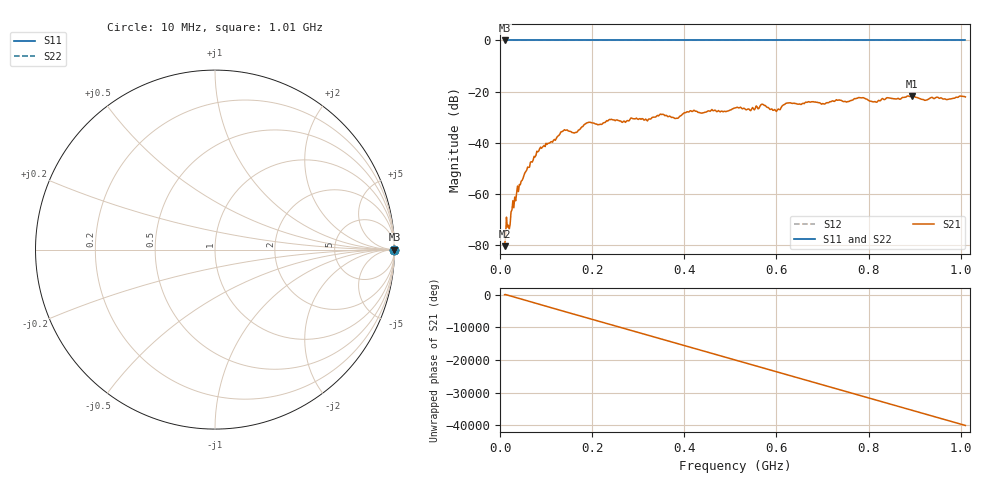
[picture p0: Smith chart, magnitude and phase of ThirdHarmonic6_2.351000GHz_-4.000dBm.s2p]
! 8/17/2025 3:32:29 AM
! C:\ANRITSUVNA\TEMP\TEMP.S2P
! CHANNEL.1
! TR.MEASUREMENT
! RAW.DATA
! RF.CORRECTION.OFF
! AVERAGING.OFF
! IF.BANDWIDTH: 5KHZ
! SWEEPTYPE:  FREQ.SWEEP(Linear)
! Reference Plane Port Info
! PORT:  PORT1  PORT2
! DISTANCE:  0  m  0  m
! TIME:  0  s  0  s
! PHASE.OFFSET:  0  deg.  0  deg.
! LOSS:  0  dB  0  dB
! REF.LOSS:  0  dB  0  dB
! REF.FREQ:  0  Hz  0  Hz
! Power Info
! POWER:  -20  dBm  -20  dBm
! EFF.POWER:  -20  dBm  -20  dBm
! SOURCE.ATTEN:  0  dB  0  dB
! TEST.ATTEN:  0  dB  0  dB
# GHZ S RI R 50.0
! FREQ.GHZ  S11RE  S11IM  S21RE  S21IM  S12RE  S12IM  S22RE  S22IM
!; PortSelection: Port_12
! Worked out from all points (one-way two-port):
!   501 points, 10 MHz to 1.01 GHz, reference 50 ohm
!   highest |S21| = -21.69 dB at 894 MHz (marker M1); lowest = -80.5 dB at 10 MHz (marker M2)
!   lowest |S11| = 0.0 dB at 10 MHz (marker M3)
!   |S11| at or under -10 dB: nowhere
!   |S22| runs from 0.0 to 0.0 dB; largest |S21 - S12| = 1.1
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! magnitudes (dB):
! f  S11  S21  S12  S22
! 10 MHz  0.0  -80.5  0.0  0.0
! 42 MHz  0.0  -56.4  0.0  0.0
! 84 MHz  0.0  -43.3  0.0  0.0
! 136 MHz  0.0  -35.5  0.0  0.0
! 164 MHz  0.0  -35.9  0.0  0.0
! 178 MHz  0.0  -33.8  0.0  0.0
! 192 MHz  0.0  -32.0  0.0  0.0
! 316 MHz  0.0  -30.7  0.0  0.0
! 344 MHz  0.0  -29.5  0.0  0.0
! 382 MHz  0.0  -30.5  0.0  0.0
! 410 MHz  0.0  -28.0  0.0  0.0
! 510 MHz  0.0  -26.4  0.0  0.0
! 570 MHz  0.0  -25.0  0.0  0.0
! 596 MHz  0.0  -27.0  0.0  0.0
! 624 MHz  0.0  -24.5  0.0  0.0
! 678 MHz  0.0  -24.0  0.0  0.0
! 782 MHz  0.0  -22.4  0.0  0.0
! 814 MHz  0.0  -23.9  0.0  0.0
! 844 MHz  0.0  -22.4  0.0  0.0
! 894 MHz  0.0  -21.7  0.0  0.0
! 924 MHz  0.0  -23.4  0.0  0.0
! 1.01 GHz  0.0  -22.1  0.0  0.0
